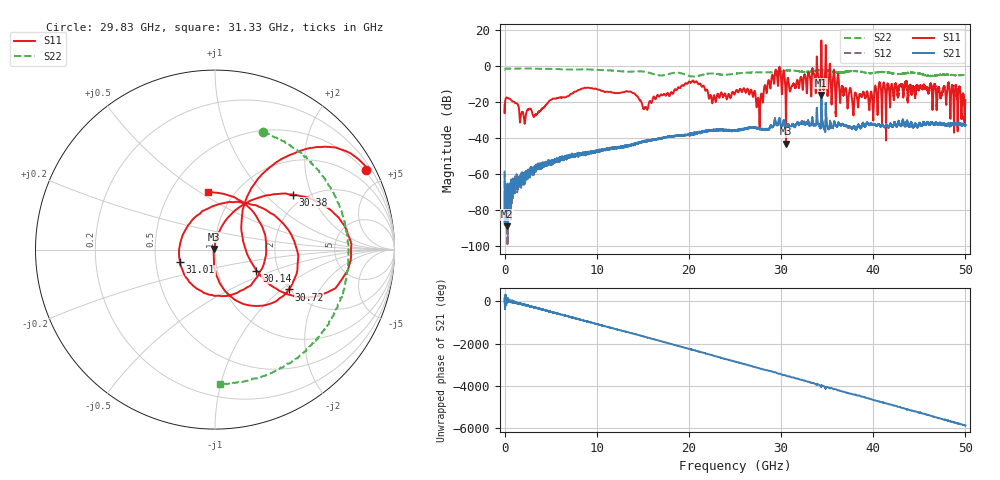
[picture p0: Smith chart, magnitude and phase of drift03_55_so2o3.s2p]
!Created with skrf (http://scikit-rf.org).
# Hz S RI R 50.0
!freq ReS11 ImS11 ReS21 ImS21 ReS12 ImS12 ReS22 ImS22
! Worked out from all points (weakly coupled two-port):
!   10001 points, 300 kHz to 50 GHz, reference 50 ohm
!   highest |S21| = -16.06 dB at 34.37 GHz (marker M1); lowest = -89.2 dB at 270.3 MHz (marker M2)
!   lowest |S11| = -43.2 dB at 30.53 GHz (marker M3), VSWR 1.01, Z = 49.4 + j0.381 ohm
!   |S11| at or under -10 dB: start of sweep to 19.55 GHz; 21.25 GHz to 28.55 GHz (7.299 GHz wide, 29.3 % of centre); 36.28 GHz to 40.62 GHz (4.336 GHz wide, 11.3 % of centre) (the widest 3 of 38)
!   |S22| runs from -5.9 to -1.3 dB; largest |S21 - S12| = 0.029
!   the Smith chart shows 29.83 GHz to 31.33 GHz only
!   S11 on the Smith chart (normalised r, x): 29.83 GHz: 0.42, +4.00; 30.14 GHz: 1.54, -0.39; 30.38 GHz: 1.73, +1.48; 30.72 GHz: 1.97, -1.12; 31.01 GHz: 0.67, -0.10; 31.33 GHz: 0.76, +0.54
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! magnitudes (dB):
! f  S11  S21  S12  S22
! 300 kHz  -21.5  -59.6  -58.2  -2.1
! 270.3 MHz  -17.6  -89.2  -80.9  -1.4
! 3.3 GHz  -27.2  -57.2  -58.1  -1.5
! 8.335 GHz  -12.6  -48.4  -49.4  -1.9
! 15.29 GHz  -22.8  -41.8  -42.0  -3.3
! 16.67 GHz  -16.5  -40.5  -40.5  -5.2
! 20.26 GHz  -9.2  -38.4  -37.8  -5.8
! 22.71 GHz  -16.4  -35.8  -35.6  -4.2
! 25 GHz  -15.3  -35.6  -35.8  -4.3
! 27.53 GHz  -17.8  -34.7  -34.4  -3.5
! 29.83 GHz  -0.4  -29.2  -28.6  -3.0
! 30.14 GHz  -11.7  -33.2  -33.5  -2.8
! 30.38 GHz  -5.5  -32.2  -32.5  -2.6
! 30.53 GHz  -43.2  -34.2  -34.1  -2.5
! 30.72 GHz  -6.6  -32.9  -32.7  -2.4
! 31.01 GHz  -13.7  -34.2  -34.2  -2.4
! 31.33 GHz  -9.9  -32.5  -32.5  -2.5
! 33.34 GHz  -7.5  -31.3  -31.1  -2.9
! 34.37 GHz  14.2  -16.1  -17.4  -2.3
! 37.86 GHz  -27.2  -33.7  -33.9  -2.8
! 41.67 GHz  -11.4  -34.2  -34.3  -3.7
! 50 GHz  -18.9  -32.9  -32.5  -5.0
